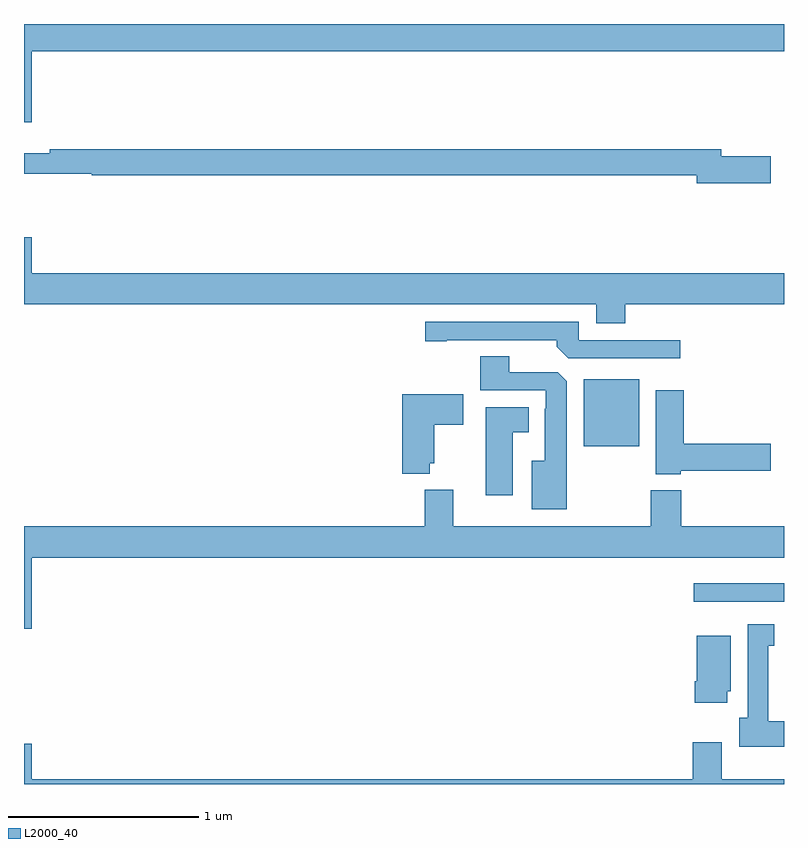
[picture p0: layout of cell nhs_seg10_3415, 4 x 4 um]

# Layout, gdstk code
import gdstk
lib = gdstk.Library(unit=1e-6, precision=1e-09)
def R(c, l, rs):  # rectangles x0, y0, x1, y1
    for r in rs: c.add(gdstk.rectangle(r[:2], r[2:], *l))
def P(c, l, *ps):  # polygons
    for p in ps: c.add(gdstk.Polygon(p, *l))
L2000_40 = (2000, 40)

nhs_seg10_3415 = lib.new_cell('nhs_seg10_3415')
R(nhs_seg10_3415, L2000_40, [(300.525,1257.459,301,1257.556), (299.945,1258.277,300.238,1258.63)])
P(nhs_seg10_3415, L2000_40, [(297.04,1260.356),(301,1260.356),(301,1260.5),(297,1260.5),(297,1259.982),(297.04,1259.982)],
  [(300.931,1259.804),(300.67,1259.804),(300.67,1259.84),(297.136,1259.84),(297.136,1259.821),(297,1259.821),(297,1259.712),(297.356,1259.712),(297.356,1259.704),(300.542,1259.704),(300.542,1259.662),(300.931,1259.662)],
  [(300.164,1259.024),(301,1259.024),(301,1259.188),(297.04,1259.188),(297.04,1259.377),(297,1259.377),(297,1259.024),(300.011,1259.024),(300.011,1258.925),(300.164,1258.925)],
  [(300.454,1258.836),(299.919,1258.836),(299.919,1258.932),(299.112,1258.932),(299.112,1258.831),(299.224,1258.831),(299.224,1258.836),(299.804,1258.836),(299.804,1258.802),(299.865,1258.74),(300.454,1258.74)],
  [(299.857,1258.619),(299.808,1258.668),(299.554,1258.668),(299.554,1258.751),(299.402,1258.751),(299.402,1258.572),(299.745,1258.572),(299.745,1258.475),(299.741,1258.475),(299.741,1258.201),(299.672,1258.201),(299.672,1257.947),(299.857,1257.947)],
  [(300.456,1258.15),(300.931,1258.15),(300.931,1258.292),(300.473,1258.292),(300.473,1258.573),(300.326,1258.573),(300.326,1258.13),(300.456,1258.13)],
  [(299.136,1258.187),(299.158,1258.187),(299.158,1258.39),(299.311,1258.39),(299.311,1258.552),(298.991,1258.552),(298.991,1258.133),(299.136,1258.133)],
  [(299.572,1258.352),(299.656,1258.352),(299.656,1258.483),(299.429,1258.483),(299.429,1258.02),(299.572,1258.02)],
  [(297.04,1257.692),(301,1257.692),(301,1257.856),(300.458,1257.856),(300.458,1258.045),(300.298,1258.045),(300.298,1257.856),(299.26,1257.856),(299.26,1258.048),(299.108,1258.048),(299.108,1257.856),(297,1257.856),(297,1257.318),(297.04,1257.318)],
  [(301,1256.83),(300.916,1256.83),(300.916,1257.227),(300.949,1257.227),(300.949,1257.34),(300.809,1257.34),(300.809,1256.85),(300.764,1256.85),(300.764,1256.696),(301,1256.696)],
  [(300.7,1256.988),(300.721,1256.988),(300.721,1257.28),(300.542,1257.28),(300.542,1257.04),(300.53,1257.04),(300.53,1256.928),(300.7,1256.928)],
  [(301,1256.524),(300.673,1256.524),(300.673,1256.719),(300.521,1256.719),(300.521,1256.524),(297.04,1256.524),(297.04,1256.713),(297,1256.713),(297,1256.5),(301,1256.5)])

lib.write_gds('nhs_seg10_3415.gds')
